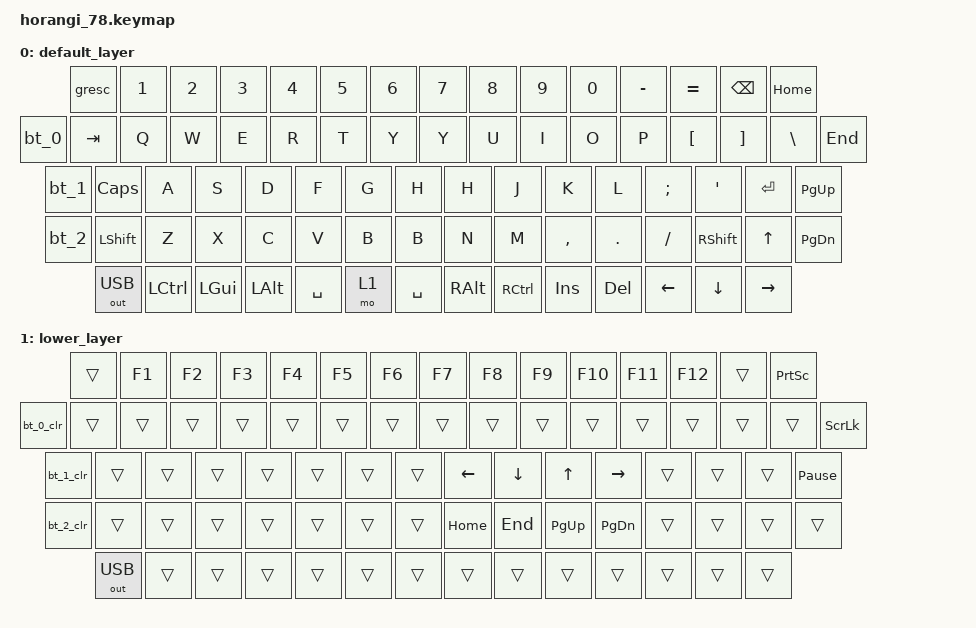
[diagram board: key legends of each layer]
#include <behaviors.dtsi>
#include <dt-bindings/zmk/keys.h>
#include <dt-bindings/zmk/bt.h>
#include <dt-bindings/zmk/ext_power.h>
#include <dt-bindings/zmk/outputs.h>

/{

    leds {
        compatible = "gpio-leds";
        user_led: led_0 {
            gpios = <&gpio0 15 GPIO_ACTIVE_HIGH>;
            label = "User LED";
        };
    };

    aliases {
        indicator-led = &user_led;
    };

    macros {
        bt_0: bt_profile_macro_0 {
            label = "BT_0";
            compatible = "zmk,behavior-macro";
            #binding-cells = <0>;
            bindings
                = <&out OUT_BLE>
                , <&bt BT_SEL 0>;
        };

        bt_1: bt_profile_macro_1 {
            label = "BT_1";
            compatible = "zmk,behavior-macro";
            #binding-cells = <0>;
            bindings
                = <&out OUT_BLE>
                , <&bt BT_SEL 1>;
        };
        
        bt_2: bt_profile_macro_2 {
            label = "BT_2";
            compatible = "zmk,behavior-macro";
            #binding-cells = <0>;
            bindings
                = <&out OUT_BLE>
                , <&bt BT_SEL 2>;
        };

        select_usb: usb_profile_macro {
            label = "SELECT_USB";
            compatible = "zmk,behavior-macro";
            #binding-cells = <0>;
            bindings
                = <&bt BT_DISC 0>
                , <&bt BT_DISC 1>
                , <&bt BT_DISC 2>
                , <&out OUT_USB>;
        };

        bt_0_clr: bt_profile_macro_0_clr {
            label = "BT_0_CLR";
            compatible = "zmk,behavior-macro";
            #binding-cells = <0>;
            bindings
                = <&out OUT_BLE>
                , <&bt BT_SEL 0>
                , <&macro_wait_time 1000>
                , <&bt BT_CLR>;
        };

        bt_1_clr: bt_profile_macro_1_clr {
            label = "BT_1_CLR";
            compatible = "zmk,behavior-macro";
            #binding-cells = <0>;
            bindings
                = <&out OUT_BLE>
                , <&bt BT_SEL 1>
                , <&macro_wait_time 1000>
                , <&bt BT_CLR>;
        };

        bt_2_clr: bt_profile_macro_2_clr {
            label = "BT_2_CLR";
            compatible = "zmk,behavior-macro";
            #binding-cells = <0>;
            bindings
                = <&out OUT_BLE>
                , <&bt BT_SEL 2>
                , <&macro_wait_time 1000>
                , <&bt BT_CLR>;
        };
    };

    behaviors {
        gresc: grave_escape {
            compatible = "zmk,behavior-mod-morph";
            label = "GRAVE_ESCAPE";
            #binding-cells = <0>;
            bindings = <&kp ESC>, <&kp GRAVE>;
            mods = <(MOD_LGUI|MOD_LSFT|MOD_RGUI|MOD_RSFT|MOD_RALT)>;
            keep-mods = <(MOD_RSFT)>;
        };
    };

    keymap {
        compatible = "zmk,keymap";

        default_layer {
            bindings = <
         &gresc  &kp N1 &kp N2 &kp N3 &kp N4 &kp N5 &kp N6           &kp N7  &kp N8  &kp N9  &kp N0   &kp MINUS &kp EQUAL      &kp BSPC   &kp HOME
&bt_0   &kp TAB   &kp Q   &kp W   &kp E   &kp R   &kp T   &kp Y    &kp Y   &kp U   &kp I   &kp O   &kp P   &kp LBKT &kp RBKT   &kp BSLH   &kp END
&bt_1    &kp CAPS  &kp A   &kp S   &kp D   &kp F   &kp G   &kp H    &kp H   &kp J   &kp K   &kp L   &kp SEMI  &kp SQT          &kp ENTER  &kp PG_UP
&bt_2     &kp LSHFT &kp Z   &kp X   &kp C   &kp V   &kp B         &kp B &kp N   &kp M   &kp COMMA &kp DOT &kp SLASH &kp RSHFT  &kp UP     &kp PG_DN
&out OUT_USB   &kp LCTRL &kp LGUI &kp LALT     &kp SPACE  &mo 1           &kp SPACE   &kp RALT  &kp RCTRL  &kp INS &kp DEL    &kp LEFT &kp DOWN   &kp RIGHT
            >;
        };

        lower_layer {
            bindings = <
         &trans   &kp F1 &kp F2 &kp F3 &kp F4 &kp F5 &kp F6                 &kp F7  &kp F8  &kp F9  &kp F10   &kp F11 &kp F12      &trans    &kp PRINTSCREEN
&bt_0_clr   &trans   &trans   &trans   &trans   &trans   &trans   &trans    &trans  &trans  &trans  &trans  &trans  &trans &trans   &trans    &kp SLCK
&bt_1_clr    &trans   &trans   &trans   &trans   &trans   &trans   &trans    &kp LEFT  &kp DOWN   &kp UP   &kp RIGHT   &trans  &trans     &trans   &kp PAUSE_BREAK
&bt_2_clr     &trans   &trans   &trans   &trans   &trans   &trans          &trans &kp HOME   &kp END   &kp PG_UP &kp PG_DN &trans &trans   &trans      &trans
&out OUT_USB   &trans &trans &trans     &trans  &trans                &trans   &trans  &trans &trans &trans    &trans &trans    &trans
            >;
        };
       
    };
};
